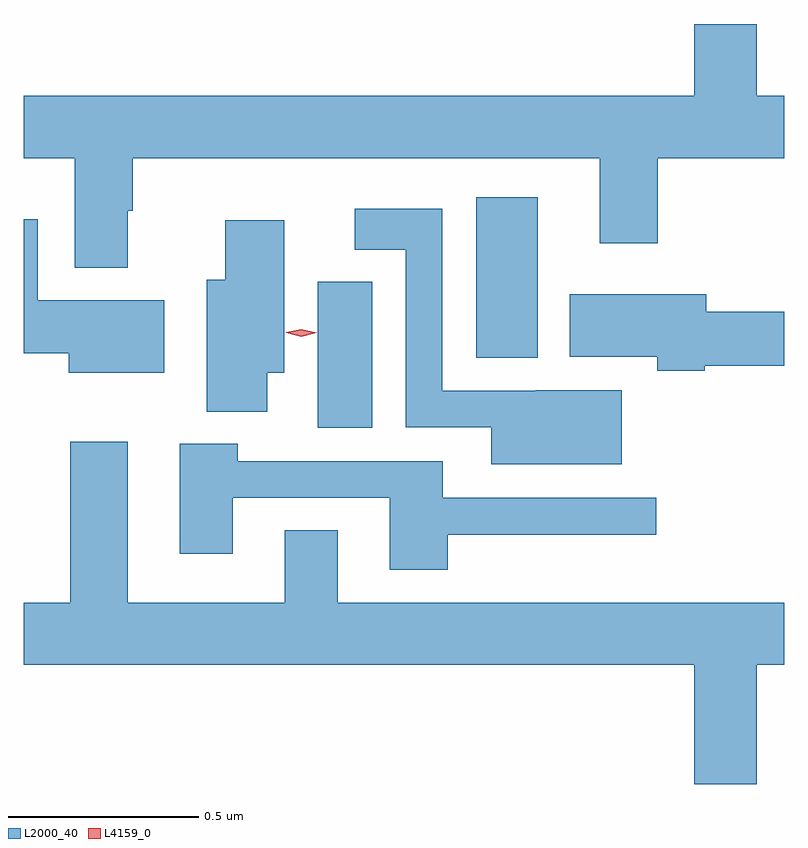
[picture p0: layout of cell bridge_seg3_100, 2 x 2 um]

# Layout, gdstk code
import gdstk
lib = gdstk.Library(unit=1e-6, precision=1e-09)
def R(c, l, rs):  # rectangles x0, y0, x1, y1
    for r in rs: c.add(gdstk.rectangle(r[:2], r[2:], *l))
def P(c, l, *ps):  # polygons
    for p in ps: c.add(gdstk.Polygon(p, *l))
L2000_40 = (2000, 40)
L4159_0 = (4159, 0)

bridge_seg3_100 = lib.new_cell('bridge_seg3_100')
R(bridge_seg3_100, L2000_40, [(559.622,733.508,559.765,733.891), (560.039,733.691,560.2,734.113)])
P(bridge_seg3_100, L2000_40, [(559.123,734.078),(559.136,734.078),(559.136,734.216),(560.363,734.216),(560.363,733.992),(560.516,733.992),(560.516,734.216),(560.849,734.216),(560.849,734.38),(560.776,734.38),(560.776,734.569),(560.612,734.569),(560.612,734.38),(558.849,734.38),(558.849,734.216),(558.983,734.216),(558.983,733.928),(559.123,733.928)],
  [(560.422,733.606),(560.196,733.606),(560.196,733.605),(559.95,733.605),(559.95,734.083),(559.719,734.083),(559.719,733.976),(559.854,733.976),(559.854,733.509),(560.078,733.509),(560.078,733.412),(560.422,733.412)],
  [(559.219,733.843),(558.886,733.843),(558.886,734.056),(558.849,734.056),(558.849,733.703),(558.968,733.703),(558.968,733.652),(559.219,733.652)],
  [(559.489,733.652),(559.534,733.652),(559.534,734.053),(559.379,734.053),(559.379,733.897),(559.331,733.897),(559.331,733.55),(559.489,733.55)],
  [(560.64,733.67),(560.849,733.67),(560.849,733.812),(560.644,733.812),(560.644,733.858),(560.285,733.858),(560.285,733.694),(560.515,733.694),(560.515,733.657),(560.64,733.657)],
  [(560.776,732.884),(560.849,732.884),(560.849,733.048),(559.675,733.048),(559.675,733.238),(559.535,733.238),(559.535,733.048),(559.123,733.048),(559.123,733.471),(558.971,733.471),(558.971,733.048),(558.849,733.048),(558.849,732.884),(560.612,732.884),(560.612,732.571),(560.776,732.571)],
  [(559.964,733.226),(560.512,733.226),(560.512,733.323),(559.951,733.323),(559.951,733.419),(559.412,733.419),(559.412,733.465),(559.259,733.465),(559.259,733.176),(559.399,733.176),(559.399,733.323),(559.811,733.323),(559.811,733.134),(559.964,733.134)])
P(bridge_seg3_100, L4159_0, [(559.579,733.747),(559.539,733.757),(559.538,733.757),(559.539,733.758),(559.579,733.767),(559.62,733.757),(559.62,733.757),(559.62,733.757)])

lib.write_gds('bridge_seg3_100.gds')
